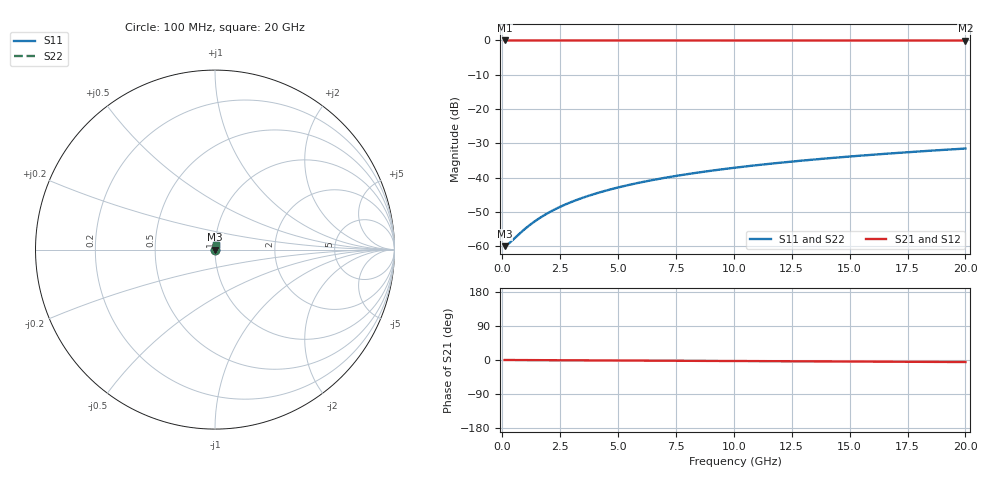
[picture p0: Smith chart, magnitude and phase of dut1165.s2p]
! Touchstone file exported from HFSS 2026.1.0
!  File:  C:/ffzhzh/LocalFiles/Ansys_Project_Files/temp_train_TSV_1165_1783191864_43440.aedt
!  Generated:  03:06:17 AM Jul  5, 2026
!  Design:  TSV
!  Project:  temp_train_TSV_1165_1783191864_43440
! Variables:
!  h_bsmrdl = 2um
!  h_ox = 20um
!  h_rdl = 5um
!  h_sub = 53.8um
!  h_tmrdl = 5um
!  h_tsv = 53.8um
!  h_via = 3um
!  l_bsmrdl = 300um
!  l_sub = 405.08um
!  l_tmrdl = 200um
!  m_sub = 200um
!  pitch = 15.45um
!  r_tsv = 2.54um
!  s_tmrdl = 10um
!  w_bsmrdl = 18um
!  w_sub = 500um
!  w_tmrdl = 12um
!  x_tsv_center1 = 206um
!  x_tsv_center2 = 524um
!  x_tsv_center3 = 736um
!  x_tsv_center4 = 1054um
!  x_tsv_center5 = 1266um
!  x_tsv_center6 = 1584um
# GHz S MA R 50.000000
! Terminal data exported
! Port[1] = TSV1_1_T1
! Port[2] = TSV1_1_T2
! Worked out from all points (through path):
!   200 points, 100 MHz to 20 GHz, reference 50 ohm
!   highest |S21| = -0.01 dB at 100 MHz (marker M1); lowest = 0.0 dB at 20 GHz (marker M2)
!   lowest |S11| = -60.0 dB at 100 MHz (marker M3), VSWR 1.00, Z = 50.1 + j0.0157 ohm
!   |S11| at or under -10 dB: start of sweep to end of sweep
!   |S22| runs from -60.0 to -31.5 dB; largest |S21 - S12| = 1.1e-15
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0.1  0.001001 9.0  0.999 -0.0  0.999 -0.0  0.001001 9.0
! Gamma 0 0 0 0
! Port Impedance 50 0 50 0
0.2  0.001044 17.4  0.999 -0.1  0.999 -0.1  0.001044 17.4
0.3  0.001107 24.7  0.999 -0.1  0.999 -0.1  0.001107 24.7
0.8  0.001585 48.2  0.9989 -0.2  0.9989 -0.2  0.001585 48.2
1.1  0.001932 56.0  0.9989 -0.3  0.9989 -0.3  0.001932 56.0
1.4  0.002302 61.5  0.9989 -0.4  0.9989 -0.4  0.002302 61.5
1.7  0.002687 65.4  0.9989 -0.5  0.9989 -0.5  0.002687 65.4
2.1  0.003215 69.0  0.9989 -0.6  0.9989 -0.6  0.003215 69.0
2.5  0.003754 71.6  0.9989 -0.7  0.9989 -0.7  0.003754 71.6
3  0.004436 73.9  0.9988 -0.8  0.9988 -0.8  0.004436 73.9
3.5  0.005122 75.4  0.9988 -1.0  0.9988 -1.0  0.005122 75.4
4.2  0.006086 76.9  0.9987 -1.1  0.9987 -1.1  0.006086 76.9
5  0.007185 78.0  0.9986 -1.4  0.9986 -1.4  0.007185 78.0
5.9  0.008416 78.7  0.9986 -1.6  0.9986 -1.6  0.008416 78.7
6.8  0.009637 79.2  0.9985 -1.9  0.9985 -1.9  0.009637 79.2
8.3  0.01165 79.5  0.9983 -2.3  0.9983 -2.3  0.01165 79.5
10.1  0.01402 79.6  0.998 -2.7  0.998 -2.7  0.01402 79.6
11.7  0.0161 79.6  0.9978 -3.2  0.9978 -3.2  0.0161 79.6
13.4  0.01828 79.4  0.9976 -3.6  0.9976 -3.6  0.01828 79.4
15  0.02031 79.2  0.9974 -4.0  0.9974 -4.0  0.02031 79.2
16.7  0.02244 79.0  0.9972 -4.5  0.9972 -4.5  0.02244 79.0
20  0.02655 78.6  0.9968 -5.4  0.9968 -5.4  0.02655 78.6
